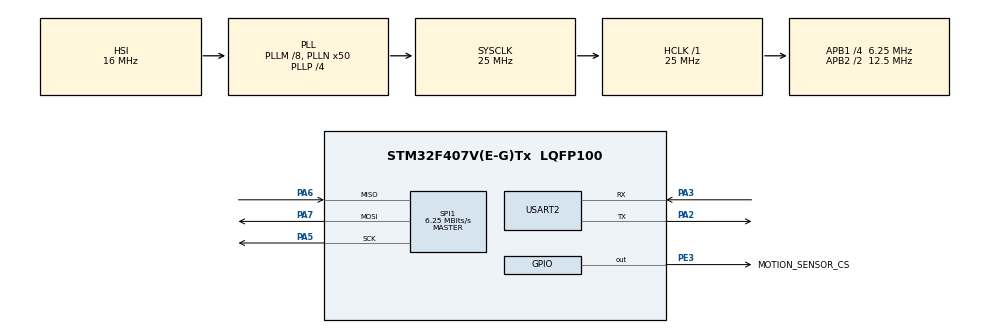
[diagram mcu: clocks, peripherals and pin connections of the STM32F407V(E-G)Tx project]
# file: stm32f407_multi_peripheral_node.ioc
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Mcu.Family=STM32F4
Mcu.Name=STM32F407V(E-G)Tx
Mcu.Package=LQFP100
NVIC.PriorityGroup=NVIC_PRIORITYGROUP_0
PA2.Mode=Asynchronous
PA2.Signal=USART2_TX
PA3.Mode=Asynchronous
PA3.Signal=USART2_RX
PA5.Mode=Full_Duplex_Master
PA5.Signal=SPI1_SCK
PA6.Mode=Full_Duplex_Master
PA6.Signal=SPI1_MISO
PA7.Mode=Full_Duplex_Master
PA7.Signal=SPI1_MOSI
PE3.GPIO_Label=MOTION_SENSOR_CS
PE3.PinState=GPIO_PIN_SET
PE3.Signal=GPIO_Output
ProjectManager.HeapSize=0x200
ProjectManager.StackSize=0x400
ProjectManager.TargetToolchain=STM32CubeIDE
RCC.48MHZClocksFreq_Value=14285714.285714285
RCC.AHBFreq_Value=25000000
RCC.APB1CLKDivider=RCC_HCLK_DIV4
RCC.APB1Freq_Value=6250000
RCC.APB1TimFreq_Value=12500000
RCC.APB2CLKDivider=RCC_HCLK_DIV2
RCC.APB2Freq_Value=12500000
RCC.APB2TimFreq_Value=25000000
RCC.CortexFreq_Value=25000000
RCC.HCLKFreq_Value=25000000
RCC.HSE_VALUE=8000000
RCC.HSI_VALUE=16000000
RCC.LSE_VALUE=32768
RCC.PLLM=8
RCC.PLLN=50
RCC.PLLP=RCC_PLLP_DIV4
RCC.PLLQ=7
RCC.SYSCLKFreq_VALUE=25000000
RCC.SYSCLKSource=RCC_SYSCLKSOURCE_PLLCLK
RCC.VCOOutputFreq_Value=100000000
SPI1.BaudRatePrescaler=SPI_BAUDRATEPRESCALER_2
SPI1.CLKPhase=SPI_PHASE_2EDGE
SPI1.CLKPolarity=SPI_POLARITY_HIGH
SPI1.CalculateBaudRate=6.25 MBits/s
SPI1.Direction=SPI_DIRECTION_2LINES
SPI1.Mode=SPI_MODE_MASTER
SPI1.VirtualType=VM_MASTER
USART2.VirtualMode=VM_ASYNC
board=STM32F407G-DISC1

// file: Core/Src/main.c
/* USER CODE BEGIN Header */
/**
  ******************************************************************************
  * @file           : main.c
  * @brief          : Main program body
  ******************************************************************************
  * @attention
  *
  * Copyright (c) 2026 STMicroelectronics.
  * All rights reserved.
  *
  * This software is licensed under terms that can be found in the LICENSE file
  * in the root directory of this software component.
  * If no LICENSE file comes with this software, it is provided AS-IS.
  *
  ******************************************************************************
  */

#include <stdio.h>
#include <string.h>
#include <stdbool.h>
#include <lis3dsh.h>

/* USER CODE END Header */
#include "main.h"
#include "spi.h"
#include "usart.h"
#include "gpio.h"

void SystemClock_Config(void);

/* USER CODE BEGIN 0 */

void uart_send(char* text)
{
	HAL_UART_Transmit(&huart2, (uint8_t* )text, strlen(text), HAL_MAX_DELAY);
}

void uart_send_int(uint8_t data)
{
	char output_str[5];

	snprintf(output_str, sizeof(output_str), "%d", data);

	HAL_UART_Transmit(&huart2, (uint8_t* )output_str, strlen(output_str), HAL_MAX_DELAY);
}

void uart_send_int16(int16_t data)
{
	char output_str[7];

	snprintf(output_str, sizeof(output_str), "%d", data);

	HAL_UART_Transmit(&huart2, (uint8_t* )output_str, strlen(output_str), HAL_MAX_DELAY);
}

void mgToGCharFix(char *response, uint8_t buffer_size, int16_t mg_value)
{
	char merge[50];

	char sing;
	uint16_t u_mg_value;

	if(mg_value < 0)
	{
		sing = '-';
		u_mg_value = -mg_value;
	}
	else
	{
		sing = ' ';
		u_mg_value = mg_value;
	}

	uint16_t u_g_value_int = (u_mg_value / 1000);
	uint16_t u_g_value_dec = (u_mg_value % 1000);

	snprintf(merge, sizeof(merge), "%c%01u,%03u", sing, u_g_value_int, u_g_value_dec);
	snprintf(response, buffer_size, "%s", merge);

}

void uartPrintHalStatus(Lis3dsh_StatusTypeDef status)
{
	uart_send("\r\n");

	switch (status){
		case LIS3DSH_OK:
			uart_send("LIS3DSH_OK\r\n");
			break;

		case LIS3DSH_ERROR_SPI_READ:
			uart_send("LIS3DSH_ERROR_SPI_READ\r\n");
			break;

		case LIS3DSH_ERROR_SPI_WRITE:
			uart_send("LIS3DSH_ERROR_SPI_WRITE\r\n");
			break;

		case LIS3DSH_ERROR_OVERFLOW:
			uart_send("LIS3DSH_ERROR_OVERFLOW\r\n");
			break;

		case LIS3DSH_ERROR_AXIS:
			uart_send("LIS3DSH_ERROR_AXIS\r\n");
			break;

		case LIS3DSH_ERROR_DATA_MISMATCH:
			uart_send("LIS3DSH_ERROR_DATA_MISMATCH\r\n");
			break;

		case LIS3DSH_ERROR_NULL_POINTER:
			uart_send("LIS3DSH_ERROR_NULL_POINTER\r\n");
			break;

		case LIS3DSH_ERROR_NO_INIT:
			uart_send("LIS3DSH_ERROR_NO_INIT\r\n");
			break;

		case LIS3DSH_ERROR_TIMEOUT:
			uart_send("LIS3DSH_ERROR_TIMEOUT\r\n");
			break;

		case LIS3DSH_ERROR_SPI_TIMEOUT:
			uart_send("LIS3DSH_ERROR_SPI_TIMEOUT\r\n");
			break;

		case LIS3DSH_ERROR_SPI_BUSY:
			uart_send("LIS3DSH_ERROR_SPI_BUSY\r\n");
			break;

		case LIS3DSH_ERROR_SPI_ZERO_LENGTH:
			uart_send("LIS3DSH_ERROR_SPI_ZERO_LENGTH\r\n");
			break;

		case LIS3DSH_ERROR_WHO_AM_I:
			uart_send("LIS3DSH_ERROR_WHO_AM_I\r\n");
			break;

		default:
			uart_send("LIS3DSH_UNKNOWN\r\n");
			break;

	}
}

/* USER CODE END 0 */

int main(void)
{

  /* MCU Configuration--------------------------------------------------------*/

  /* Reset of all peripherals, Initializes the Flash interface and the Systick. */
  HAL_Init();

  /* Configure the system clock */
  SystemClock_Config();

  /* Initialize all configured peripherals */
  MX_GPIO_Init();
  MX_SPI1_Init();
  MX_USART2_UART_Init();
  /* USER CODE BEGIN 2 */

  char boot_msg[] = "/----BOOT_OK----/\r\n";
  char boot_msg_head[] = "\r\n\r\n/---------------/\r\n";
  uart_send(boot_msg_head);
  uart_send(boot_msg);

  Lis3dsh_StatusTypeDef status;

  Lis3dsh_t sensor = {0};

  int16_t x_mg = 0xFFU;
  int16_t y_mg = 0xFFU;
  int16_t z_mg = 0xFFU;

  char x_char[10], y_char[10], z_char[10];

  uint8_t init_counter = 0U;

  uint32_t delay_time = 2000U;

  void LIS3DSH_Workflow(void)
  {
	  while(1)
	  {
		  if(sensor.init_status != LIS3DSH_INIT_OK)
	 	  {
			  status = sensorInit(&sensor, &hspi1, GPIOE, GPIO_PIN_3);
			  if(status == LIS3DSH_OK)
	 		  {
				  uart_send("--------------------------------------\r\n");
	 		  	  uart_send("INIT_OK\r\n");

	 		  	  init_counter = 0U;
	 		  }
	 		  else
	 		  {
	 			  uart_send("----------------------------------------\r\n");
	 			  uartPrintHalStatus(status);
	 		  	  uart_send("\r\n");
	 		  	  uart_send_int(sensor.init_status);

	 		  	  init_counter++;

	 		  	  if(init_counter > 5U)
	 		  	  {
	 		  		  while(1);
	 		  	  }
	 		  }
	 	  }

		  if(sensor.init_status == LIS3DSH_INIT_OK)
		  {
			  status = readAxesMg(&sensor, &x_mg, &y_mg, &z_mg);
			    if(status == LIS3DSH_OK)
			    {

			  	  uart_send("--------------------------------------\r\n");

			  	  uart_send("X_AXIX_MG: ");
			  	  uart_send_int16(x_mg);
			  	  uart_send("\r\nY_AXIX_MG: ");
			  	  uart_send_int16(y_mg);
			  	  uart_send("\r\nZ_AXIX_MG: ");
			  	  uart_send_int16(z_mg);

			  	  mgToGCharFix(x_char, 10U, x_mg);
			  	  mgToGCharFix(y_char, 10U, y_mg);
			  	  mgToGCharFix(z_char, 10U, z_mg);

			  	  uart_send("\r\n--------------------------------------\r\n");

			  	  uart_send("X_AXIS: ");
			  	  uart_send(x_char);
			  	  uart_send("\r\nY_AXIS: ");
			  	  uart_send(y_char);
			  	  uart_send("\r\nZ_AXIS: ");
			  	  uart_send(z_char);
			  	  uart_send("\r\n");
			    }
			    else
			    {
			  	  uartPrintHalStatus(status);
			    }
		  }

		  HAL_Delay(delay_time);
	   }
  }

  /* USER CODE END 2 */

  /* Infinite loop */
  while (1)
  {

    /* USER CODE BEGIN 3 */

	  LIS3DSH_Workflow();
  }
  /* USER CODE END 3 */
}

void SystemClock_Config(void)
{
  RCC_OscInitTypeDef RCC_OscInitStruct = {0};
  RCC_ClkInitTypeDef RCC_ClkInitStruct = {0};

  /** Configure the main internal regulator output voltage
  */
  __HAL_RCC_PWR_CLK_ENABLE();
  __HAL_PWR_VOLTAGESCALING_CONFIG(PWR_REGULATOR_VOLTAGE_SCALE1);

  /** Initializes the RCC Oscillators according to the specified parameters
  * in the RCC_OscInitTypeDef structure.
  */
  RCC_OscInitStruct.OscillatorType = RCC_OSCILLATORTYPE_HSI;
  RCC_OscInitStruct.HSIState = RCC_HSI_ON;
  RCC_OscInitStruct.HSICalibrationValue = RCC_HSICALIBRATION_DEFAULT;
  RCC_OscInitStruct.PLL.PLLState = RCC_PLL_ON;
  RCC_OscInitStruct.PLL.PLLSource = RCC_PLLSOURCE_HSI;
  RCC_OscInitStruct.PLL.PLLM = 8;
  RCC_OscInitStruct.PLL.PLLN = 50;
  RCC_OscInitStruct.PLL.PLLP = RCC_PLLP_DIV4;
  RCC_OscInitStruct.PLL.PLLQ = 7;
  if (HAL_RCC_OscConfig(&RCC_OscInitStruct) != HAL_OK)
  {
    Error_Handler();
  }

  /** Initializes the CPU, AHB and APB buses clocks
  */
  RCC_ClkInitStruct.ClockType = RCC_CLOCKTYPE_HCLK|RCC_CLOCKTYPE_SYSCLK
                              |RCC_CLOCKTYPE_PCLK1|RCC_CLOCKTYPE_PCLK2;
  RCC_ClkInitStruct.SYSCLKSource = RCC_SYSCLKSOURCE_PLLCLK;
  RCC_ClkInitStruct.AHBCLKDivider = RCC_SYSCLK_DIV1;
  RCC_ClkInitStruct.APB1CLKDivider = RCC_HCLK_DIV4;
  RCC_ClkInitStruct.APB2CLKDivider = RCC_HCLK_DIV2;

  if (HAL_RCC_ClockConfig(&RCC_ClkInitStruct, FLASH_LATENCY_0) != HAL_OK)
  {
    Error_Handler();
  }
}

void Error_Handler(void)
{
  __disable_irq();
  while (1)
  {
  }
}
